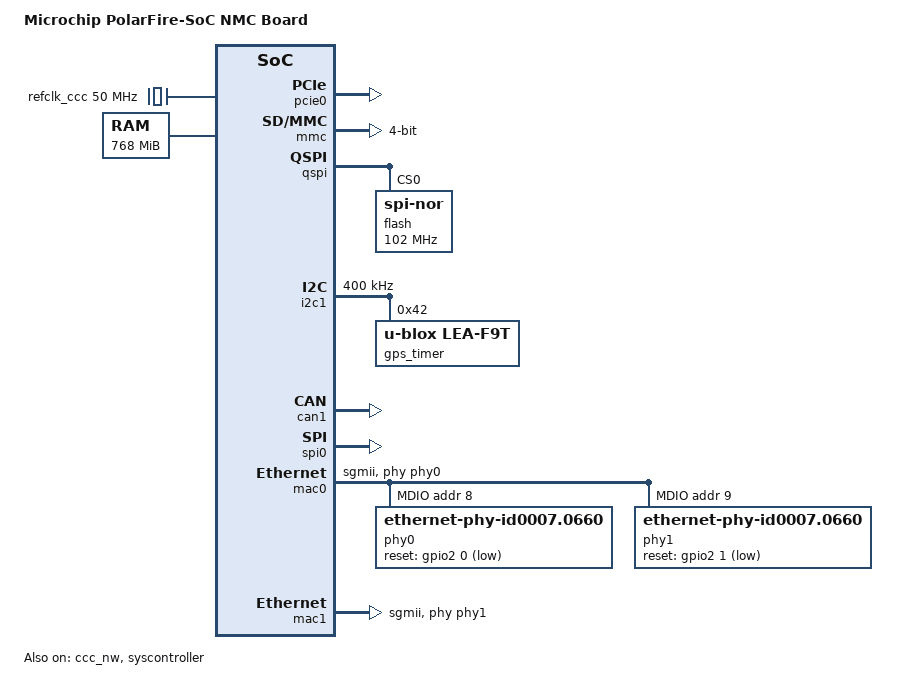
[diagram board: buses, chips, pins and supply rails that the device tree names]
// SPDX-License-Identifier: (GPL-2.0 OR MIT)
/* Written by Ryan Nguyen | Andrew Carton 8/12/26 */
/* Modified by Zein Sebraoui 8/22/26 */

/dts-v1/;

#include "mpfs.dtsi"
#include <dt-bindings/gpio/gpio.h>

/ {
	model = "Microchip PolarFire-SoC NMC Board";
	compatible = "microchip,mpfs-custom-mss", "microchip,mpfs";

	aliases {
		ethernet0 = &mac0;
		ethernet1 = &mac1;
		serial0 = &mmuart0;
		serial1 = &mmuart1;
		serial2 = &mmuart2;
		serial4 = &mmuart4;
		i2c1 = &i2c1;
		can0 = &can1;
		mmc0 = &mmc;
		spi0 = &spi0;
	};

	chosen {
		/* Console on MMUART1 (ttyS1, Window 2). Bare earlycon follows stdout-path. */
		bootargs = "console=ttyS1,115200n8 earlycon root=/dev/mmcblk0p3 rootwait rw";
		stdout-path = "serial1:115200n8";
	};

	/* Required base reference clock for CCC / Clocks */
	refclk_ccc: cccrefclk {
		compatible = "fixed-clock";
		#clock-cells = <0>;
		clock-frequency = <50000000>;
	};

	/* Match the 768 MB range configured in Libero */
	ddrc_cache_lo: memory@80000000 {
		device_type = "memory";
		reg = <0x0 0x80000000 0x0 0x30000000>;
		status = "okay";
	};

	/* Disable 16GB High Cached region */
	ddrc_cache_hi: memory@1000000000 {
		status = "disabled";
	};

	reserved-memory {
		#address-cells = <2>;
		#size-cells = <2>;
		ranges;

		/* HSS payload reservation at top of 768MB region (0xAF800000) */
		hss_payload: region@af800000 {
			reg = <0x0 0xaf800000 0x0 0x800000>;
			no-map;
		};
	};
};

&{/soc} {
    pcie0: pcie@e0000000 {
        compatible = "microchip,pcie-host-1.0";
        reg = <0x0 0xe0000000 0x0 0x01000000>,   /* ECAM cfg, 16MB (buses 0-15) via FIC1 */
              <0x0 0x43004000 0x0 0x00002000>,   /* PCIe CTRL 0 bridge regs via FIC3 */
              <0x0 0x43006000 0x0 0x00002000>;   /* PCIe CTRL 0 ctrl regs via FIC3 */
        reg-names = "cfg", "bridge", "ctrl";
        bus-range = <0x0 0x0f>;

        #address-cells = <3>;
        #size-cells = <2>;
        device_type = "pci";

        clocks = <&clkcfg 28>, <&clkcfg 30>;     /* CLK_FIC1, CLK_FIC3 */
        clock-names = "fic1", "fic3";

        /* 112MB non-prefetchable MEM window, after the cfg space */
        ranges = <0x02000000 0x0 0xe1000000 0x0 0xe1000000 0x0 0x07000000>;
        dma-ranges = <0x02000000 0x0 0x80000000 0x0 0x80000000 0x0 0x40000000>;

        #interrupt-cells = <1>;
        interrupt-parent = <&plic>;
        interrupts = <119>;                       /* MSS_INT_F2M[1] */
        interrupt-map-mask = <0x0 0x0 0x0 0x7>;
        interrupt-map = <0 0 0 1 &pcie_intc0 0>,
                        <0 0 0 2 &pcie_intc0 1>,
                        <0 0 0 3 &pcie_intc0 2>,
                        <0 0 0 4 &pcie_intc0 3>;

        msi-parent = <&pcie0>;
        msi-controller;
        status = "okay";

        pcie_intc0: interrupt-controller {
            #address-cells = <0>;
            #interrupt-cells = <1>;
            interrupt-controller;
        };
    };
};

/* Core SoC Reference Clocks */
&refclk { 
	clock-frequency = <125000000>; 
};

&ccc_nw {
	clocks = <&refclk_ccc>, <&refclk_ccc>, <&refclk_ccc>, <&refclk_ccc>,
		 <&refclk_ccc>, <&refclk_ccc>;
	clock-names = "pll0_ref0", "pll0_ref1", "pll1_ref0", "pll1_ref1",
		      "dll0_ref", "dll1_ref";
	status = "okay";
};

/* Hardware MSS UART Configuration */
&mmuart0 { status = "okay"; };
&mmuart1 { status = "okay"; };     /* Main Console */
&mmuart2 { status = "okay"; };
&mmuart3 { status = "disabled"; };
&mmuart4 { status = "okay"; };

/* eMMC Storage */
&mmc {
	bus-width = <4>;
	disable-wp;
	cap-sd-highspeed;
	cap-mmc-highspeed;
	mmc-ddr-1_8v;
	mmc-hs200-1_8v;
	sd-uhs-sdr12;
	sd-uhs-sdr25;
	sd-uhs-sdr50;
	sd-uhs-sdr104;
	status = "okay";
};

&mbox {
	status = "okay";
};

&syscontroller {
	status = "okay";
};

/* Active QSPI Flash */
&qspi {
	status = "okay";
	flash@0 {
		compatible = "jedec,spi-nor";
		reg = <0>;
		spi-max-frequency = <102000000>;
		spi-tx-bus-width = <4>;
		spi-rx-bus-width = <4>;
		status = "okay";
	};
};

&gpio0 { status = "okay"; };
&gpio1 { status = "okay"; };
&gpio2 { status = "okay"; };
&i2c0 { status = "disabled"; };

/* I2C1 with u-blox GPS mapping */
&i2c1 {
	status = "okay";
	clock-frequency = <400000>;

	gps_timer@42 {
		compatible = "u-blox,lea-f9t", "generic-i2c-device";
		reg = <0x42>;
	};
};

&can0 { status = "disabled"; };

/* CAN1 Active */
&can1 {
	status = "okay";
};

&spi0 {
	status = "okay";
};

&spi1 { status = "disabled"; };
&usb { status = "disabled"; };

/* MAC 0 Shared MDIO and PHY Configuration */
&mac0 {
	status = "okay";
	phy-mode = "sgmii";
	phy-handle = <&phy0>;

	mdio {
		#address-cells = <1>;
		#size-cells = <0>;
		compatible = "cdns,macb-mdio"; 

		phy0: ethernet-phy@8 {
			reg = <8>;
            compatible = "ethernet-phy-id0007.0660", "ethernet-phy-ieee802.3-c22";
			/* Native Linux PHY Reset Handling (Replaces GPIO Hog) */
			reset-gpios = <&gpio2 0 GPIO_ACTIVE_LOW>;
			reset-assert-us = <10000>;
			reset-deassert-us = <20000>;
		};

		phy1: ethernet-phy@9 {
			reg = <9>;
            compatible = "ethernet-phy-id0007.0660", "ethernet-phy-ieee802.3-c22";
			/* Native Linux PHY Reset Handling (Replaces GPIO Hog) */
			reset-gpios = <&gpio2 1 GPIO_ACTIVE_LOW>;
			reset-assert-us = <10000>;
			reset-deassert-us = <20000>;
		};
	};
};

/* MAC 1 Data Plane */
&mac1 {
	status = "okay";
	phy-mode = "sgmii";
	phy-handle = <&phy1>;
};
